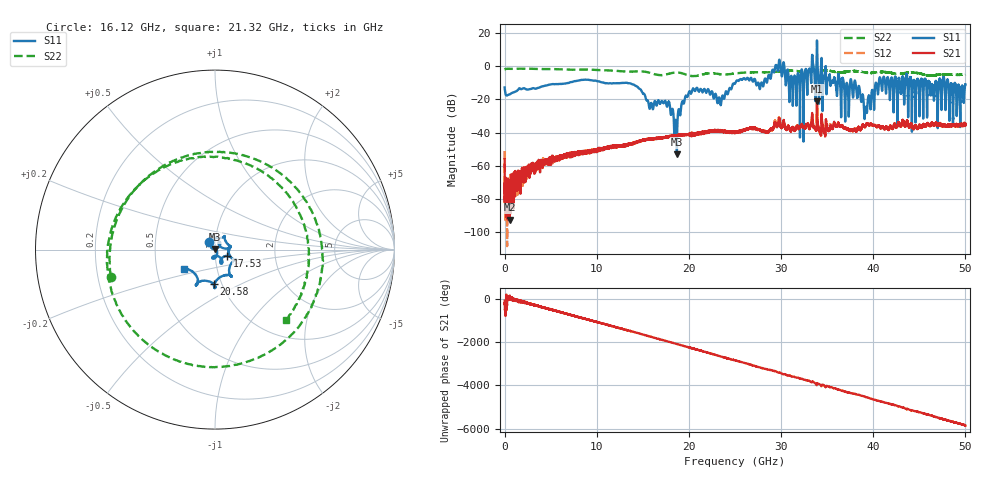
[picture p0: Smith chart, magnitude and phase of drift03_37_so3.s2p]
!Created with skrf (http://scikit-rf.org).
# Hz S RI R 50.0
!freq ReS11 ImS11 ReS21 ImS21 ReS12 ImS12 ReS22 ImS22
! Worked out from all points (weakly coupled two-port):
!   10001 points, 300 kHz to 50 GHz, reference 50 ohm
!   highest |S21| = -21.21 dB at 33.9 GHz (marker M1); lowest = -92.8 dB at 550.3 MHz (marker M2)
!   lowest |S11| = -53.1 dB at 18.7 GHz (marker M3), VSWR 1.00, Z = 50 + j0.22 ohm
!   |S11| at or under -10 dB: start of sweep to 6.947 GHz; 13.32 GHz to 25.04 GHz (11.73 GHz wide, 61.1 % of centre); 38.08 GHz to 40.26 GHz (2.189 GHz wide, 5.59 % of centre) (the widest 3 of 58)
!   |S22| runs from -5.9 to -1.3 dB; largest |S21 - S12| = 0.0083
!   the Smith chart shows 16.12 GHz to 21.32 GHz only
!   S11 on the Smith chart (normalised r, x): 16.12 GHz: 0.93, +0.08; 17.53 GHz: 1.14, -0.08; 20.58 GHz: 0.91, -0.36; 21.32 GHz: 0.69, -0.16
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300000  -0.2096 -0.0979  0.000147 -0.00156  -0.000296 0.00273  -0.7631 -0.1899
5.502967e8  -0.0622 0.1286  1.83e-05 1.4e-05  0.000207 4.58e-05  -0.3705 0.7591
2.335286e9  0.0221 -0.2014  -0.000714 -0.000123  -0.000573 0.000182  0.0895 -0.8517
3.935276e9  -0.0195 0.2403  0.00097 -0.000141  0.000994 -8.9e-05  -0.0305 0.8322
5.470267e9  0.068 -0.2821  -0.00149 1.07e-05  -0.00153 1.26e-05  0.1699 -0.8091
8.33525e9  0.2838 -0.2677  -0.00218 -0.00102  -0.00242 -0.000889  0.6017 -0.5357
1.043024e10  -0.0433 0.332  0.00251 -0.00198  0.00251 -0.00175  -0.0378 0.77
1.201523e10  0.0076 -0.3082  -0.00307 0.00249  -0.00278 0.00251  0.1062 -0.7295
1.372522e10  -0.0263 0.2985  0.00278 -0.00384  0.00249 -0.00377  -0.0662 0.6914
1.61152e10  -0.0321 0.0407  0.0061 0.00227  0.00607 0.00218  -0.5795 -0.1504
1.66702e10  0.0536 0.0754  0.00441 -0.00488  0.00484 -0.00506  -0.3585 0.4184
1.752519e10  0.0674 -0.0345  -0.0059 -0.00394  -0.00604 -0.00404  0.4923 0.291
1.869519e10  -0.000108 0.0022  0.00259 0.00787  0.00264 0.00778  -0.088 -0.6488
2.058018e10  -0.00809 -0.1921  -0.00763 -0.00382  -0.00805 -0.00416  0.3787 0.339
2.132017e10  -0.1706 -0.1085  -0.00568 0.00838  -0.00506 0.00857  0.3975 -0.3912
2.500015e10  -0.2967 -0.048  0.00804 0.00649  0.00768 0.00639  -0.1879 -0.583
3.051012e10  0.2452 -0.1045  -0.00252 0.0125  -0.0024 0.0129  0.7417 -0.0593
3.213011e10  0.2024 0.3716  -0.000456 -0.015  -9.39e-05 -0.0152  -0.696 0.0107
3.33351e10  0.4407 -1.021  -0.00555 0.0252  -0.0062 0.0242  0.6132 0.3664
3.38951e10  -0.8378 -6.038  0.0866 0.00779  0.0795 0.00591  0.6779 -0.3212
4.167005e10  -0.219 0.2865  -0.011 -0.00418  -0.0115 -0.00504  -0.6571 -0.0564
5e10  -0.1425 -0.2467  0.000176 -0.0166  0.00148 -0.017  0.4698 -0.319
